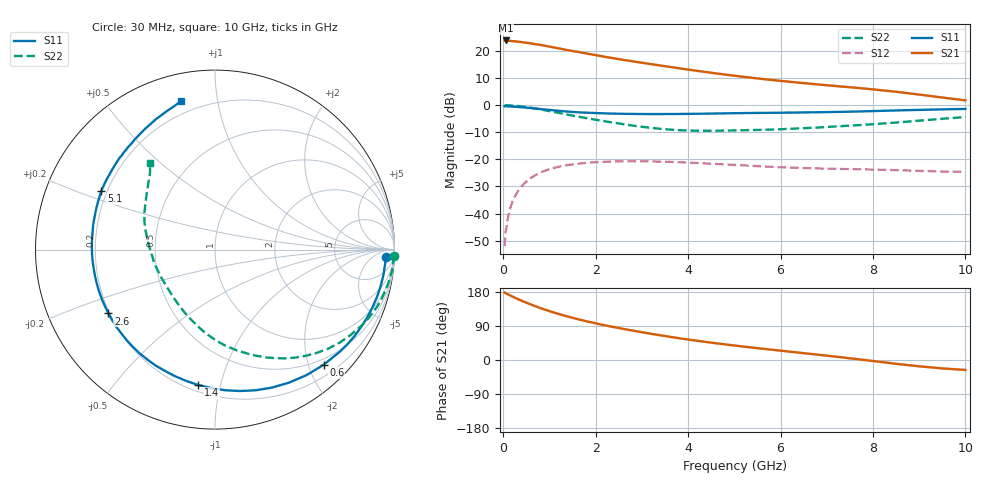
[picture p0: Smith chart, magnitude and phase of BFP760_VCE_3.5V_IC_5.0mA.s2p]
! Infineon Technologies  Discrete & RF Semiconductors
! BFP760
! VCE =  3.5 V,  IC =  5.0 mA
! Common Emitter S-Parameters:  Nov 2012
# GHz  S  MA  R  50
!  f  S11  S21  S12  S22
! GHz  MAG  ANG  MAG  ANG  MAG  ANG  MAG  ANG
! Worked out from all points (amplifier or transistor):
!   99 points, 30 MHz to 10 GHz, reference 50 ohm
!   highest |S21| = 23.9 dB at 50 MHz (marker M1)
!   |S21| within 3 dB of that: start of sweep to 1.221 GHz
!   unconditionally stable (mu >= 1): 6.197 GHz to end of sweep
!   at 350 MHz: K = 0.09, MSG = 27.2 dB, |S12| = -31.0 dB
!   at 3.5 GHz: K = 0.48, MSG = 17.6 dB, |S12| = -20.9 dB
!   at 10 GHz: K = 1.31, MAG = 9.9 dB, |S12| = -24.6 dB
!   S11 on the Smith chart (normalised r, x): 30 MHz: 22, -21; 600 MHz: 0.39, -2.26; 1.4 GHz: 0.24, -0.85; 2.6 GHz: 0.20, -0.27; 5.1 GHz: 0.18, +0.23; 10 GHz: 0.13, +0.79
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0.03  0.953 -2.6  15.39 177.9  0.0025 81.7  0.9978 -1.9
0.05  0.9513 -4.1  15.61 176.3  0.0046 90.7  0.9965 -2.8
0.13  0.9465 -10.6  15.39 171.6  0.0111 82.9  0.9913 -7.4
0.25  0.9344 -20.2  15.06 164.6  0.0204 77.1  0.9747 -14.0
0.35  0.9209 -28.0  14.73 159.0  0.0281 72.5  0.9575 -19.4
0.45  0.9068 -35.6  14.34 153.7  0.0355 68.2  0.9356 -24.5
0.6  0.8821 -46.7  13.74 146.4  0.0453 61.6  0.8946 -31.9
0.8  0.848 -61.0  12.96 137.2  0.0569 53.8  0.838 -41.2
0.9  0.8317 -67.6  12.49 133.0  0.0616 50.0  0.8067 -45.6
1.1  0.8001 -80.0  11.57 125.1  0.0696 43.2  0.7464 -53.8
1.4  0.7599 -97.1  10.33 114.5  0.0785 34.7  0.666 -64.5
1.7  0.7305 -112.7  9.315 105.1  0.0844 27.6  0.5957 -74.3
2.1  0.7089 -130.5  8.079 94.0  0.0894 19.3  0.5204 -86.8
2.6  0.6922 -149.1  6.842 82.1  0.0919 11.1  0.445 -101.0
3  0.6858 -162.3  6.055 73.3  0.0921 5.5  0.3989 -112.7
3.4  0.6845 -174.0  5.378 65.2  0.0906 0.8  0.366 -124.3
4.1  0.6919 169.1  4.414 52.3  0.0863 -5.9  0.3386 -143.8
5.1  0.7117 152.8  3.41 36.9  0.0781 -11.4  0.3431 -164.6
5.8  0.7214 144.8  2.917 27.3  0.0729 -12.9  0.3543 -176.0
6.7  0.7378 135.8  2.457 15.5  0.0684 -12.7  0.3827 170.7
8.5  0.7979 114.3  1.765 -10.0  0.0632 -12.7  0.4767 143.8
10  0.8508 102.7  1.224 -26.2  0.0588 -8.6  0.6039 126.8
